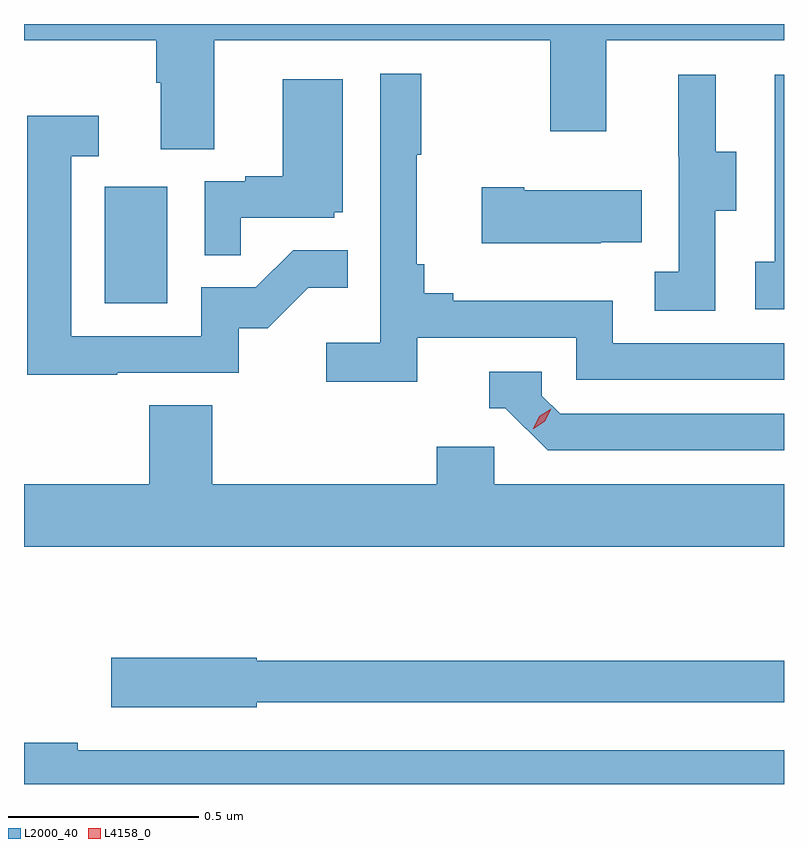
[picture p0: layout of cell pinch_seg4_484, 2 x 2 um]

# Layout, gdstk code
import gdstk
lib = gdstk.Library(unit=1e-6, precision=1e-09)
def R(c, l, rs):  # rectangles x0, y0, x1, y1
    for r in rs: c.add(gdstk.rectangle(r[:2], r[2:], *l))
def P(c, l, *ps):  # polygons
    for p in ps: c.add(gdstk.Polygon(p, *l))
L2000_40 = (2000, 40)
L4158_0 = (4158, 0)

pinch_seg4_484 = lib.new_cell('pinch_seg4_484')
R(pinch_seg4_484, L2000_40, [(912.794,757.5,912.958,757.807)])
P(pinch_seg4_484, L2000_40, [(913.081,758.192),(913.966,758.192),(913.966,757.953),(914.113,757.953),(914.113,758.192),(914.581,758.192),(914.581,758.235),(912.581,758.235),(912.581,758.192),(912.929,758.192),(912.929,758.08),(912.941,758.08),(912.941,757.906),(913.081,757.906)],
  [(913.616,757.41),(914.034,757.41),(914.034,757.299),(914.581,757.299),(914.581,757.395),(914.13,757.395),(914.13,757.507),(913.711,757.507),(913.711,757.526),(913.634,757.526),(913.634,757.603),(913.615,757.603),(913.615,757.891),(913.627,757.891),(913.627,758.104),(913.518,758.104),(913.518,757.396),(913.377,757.396),(913.377,757.294),(913.616,757.294)],
  [(914.581,758.101),(914.556,758.101),(914.556,757.61),(914.505,757.61),(914.505,757.485),(914.581,757.485)],
  [(914.4,757.744),(914.455,757.744),(914.455,757.899),(914.401,757.899),(914.401,758.101),(914.303,758.101),(914.303,757.887),(914.304,757.887),(914.304,757.583),(914.241,757.583),(914.241,757.48),(914.4,757.48)],
  [(913.151,757.725),(913.398,757.725),(913.398,757.74),(913.42,757.74),(913.42,758.089),(913.262,758.089),(913.262,757.834),(913.163,757.834),(913.163,757.821),(913.056,757.821),(913.056,757.627),(913.151,757.627)],
  [(912.827,757.317),(913.146,757.317),(913.146,757.434),(913.222,757.434),(913.329,757.541),(913.433,757.541),(913.433,757.64),(913.289,757.64),(913.191,757.542),(913.047,757.542),(913.047,757.413),(912.705,757.413),(912.705,757.887),(912.778,757.887),(912.778,757.993),(912.589,757.993),(912.589,757.312),(912.827,757.312)],
  [(914.099,757.661),(914.207,757.661),(914.207,757.798),(913.897,757.798),(913.897,757.806),(913.785,757.806),(913.785,757.658),(914.099,757.658)],
  [(914.581,757.209),(913.992,757.209),(913.944,757.257),(913.944,757.32),(913.805,757.32),(913.805,757.224),(913.848,757.224),(913.959,757.113),(914.581,757.113)],
  [(914.581,757.024),(913.818,757.024),(913.818,757.122),(913.667,757.122),(913.667,757.024),(913.076,757.024),(913.076,757.232),(912.911,757.232),(912.911,757.024),(912.581,757.024),(912.581,756.86),(914.581,756.86)],
  [(913.194,756.45),(914.581,756.45),(914.581,756.559),(913.194,756.559),(913.194,756.567),(912.81,756.567),(912.81,756.437),(913.194,756.437)],
  [(914.581,756.324),(912.722,756.324),(912.722,756.344),(912.581,756.344),(912.581,756.235),(914.581,756.235)])
P(pinch_seg4_484, L4158_0, [(913.921,757.17),(913.921,757.171),(913.937,757.203),(913.968,757.223),(913.968,757.223),(913.968,757.223),(913.952,757.19),(913.922,757.17)])

lib.write_gds('pinch_seg4_484.gds')
